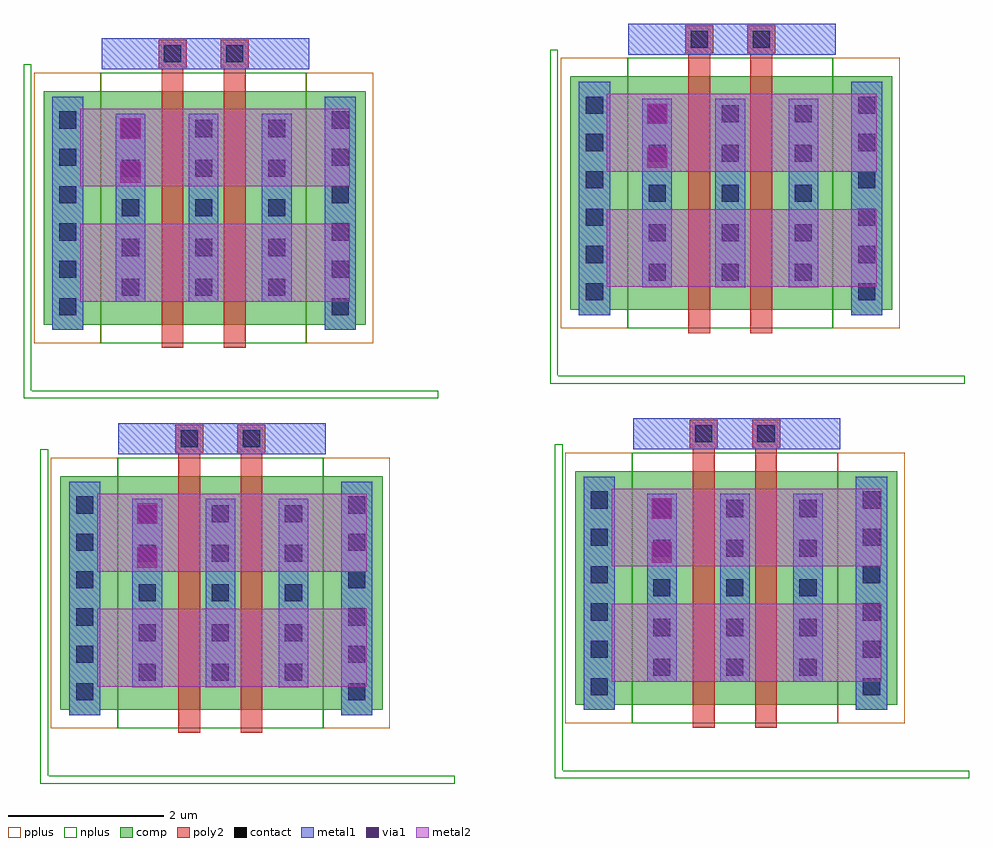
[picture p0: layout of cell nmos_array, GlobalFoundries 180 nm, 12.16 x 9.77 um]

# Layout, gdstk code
from math import pi, radians
import gdstk
lib = gdstk.Library(unit=1e-6, precision=1e-09)
def R(c, l, rs):  # rectangles x0, y0, x1, y1
    for r in rs: c.add(gdstk.rectangle(r[:2], r[2:], *l))
def A(c, l, x, y, w, h, nx, ny, dx, dy):  # array of equal rectangles
    R(c, l, [(x+i*dx, y+j*dy, x+i*dx+w, y+j*dy+h) for i in range(nx) for j in range(ny)])
comp = (22, 0)
poly2 = (30, 0)
pplus = (31, 0)
nplus = (32, 0)
contact = (33, 0)
metal1 = (34, 0)
via1 = (35, 0)
metal2 = (36, 0)

via_dev = lib.new_cell('via_dev')
R(via_dev, comp, [(0,0,3,0.4)])
A(via_dev, contact, 0.19, 0.09, 0.22, 0.22, 6, 1, 0.48, 0)
R(via_dev, metal1, [(0,0,3,0.4)])

nfet = lib.new_cell('nfet')
R(nfet, comp, [(-0.42,0,0,3), (0,0,1.46,3), (1.46,0,1.88,3)])
R(nfet, poly2, [(0.19,-0.3,0.47,3.3), (0.99,-0.3,1.27,3.3), (0.15,3.3,0.51,3.66), (0.95,3.3,1.31,3.66)])
R(nfet, nplus, [(-0.59,-0.24,2.05,3.24)])
A(nfet, contact, -0.32, 0.37, 0.22, 0.22, 3, 5, 0.94, 0.51)
R(nfet, contact, [(0.22,3.37,0.44,3.59), (1.02,3.37,1.24,3.59)])
A(nfet, metal1, -0.4, 0.29, 0.38, 2.42, 3, 1, 0.94, 0)
R(nfet, metal1, [(0.14,3.289,0.52,3.671), (0.94,3.289,1.32,3.671)])

unit_nmos = lib.new_cell('unit_nmos')
R(unit_nmos, comp, [(-1.325,0,2.815,3)])
R(unit_nmos, pplus, [(-1.45,-0.24,-0.59,3.24), (2.05,-0.24,2.91,3.24)])
R(unit_nmos, via1, [(-0.34,1.825,-0.08,2.085), (-0.34,2.39,-0.08,2.65)])
unit_nmos.add(gdstk.FlexPath([(-0.58,3.48),(2.085,3.48)], 0.4, ends="flush", simple_path=True, layer=34, datatype=0))  # metal1
unit_nmos.add(gdstk.FlexPath([(-1.535,3.345),(-1.535,-0.9),(3.745,-0.9)], 0.1, ends="flush", simple_path=True, layer=32, datatype=0))  # nplus
unit_nmos.add(gdstk.FlexPath([(-0.855,0.795),(2.61,0.795)], 1, ends="flush", simple_path=True, layer=36, datatype=0))  # metal2
unit_nmos.add(gdstk.FlexPath([(-0.855,2.275),(2.61,2.275)], 1, ends="flush", simple_path=True, layer=36, datatype=0))  # metal2
unit_nmos.add(gdstk.Reference(via_dev, (-0.815,-0.07), rotation=pi/2))
unit_nmos.add(gdstk.Reference(nfet, (0,0)))
unit_nmos.add(gdstk.Reference(via_dev, (2.685,-0.07), rotation=pi/2))

nmos_array = lib.new_cell('nmos_array')
r = gdstk.Reference(unit_nmos, (-0.15,-0.19)); r.repetition = gdstk.Repetition(1, 1, v1=(0,0), v2=(0,0)); nmos_array.add(r)
r = gdstk.Reference(unit_nmos, (0.065,-5.14)); r.repetition = gdstk.Repetition(1, 1, v1=(0,0), v2=(0,0)); nmos_array.add(r)
r = gdstk.Reference(unit_nmos, (6.62,0)); r.repetition = gdstk.Repetition(1, 1, v1=(0,0), v2=(0,0)); nmos_array.add(r)
r = gdstk.Reference(unit_nmos, (6.68,-5.075)); r.repetition = gdstk.Repetition(1, 1, v1=(0,0), v2=(0,0)); nmos_array.add(r)

lib.write_gds('nmos_array.gds')
